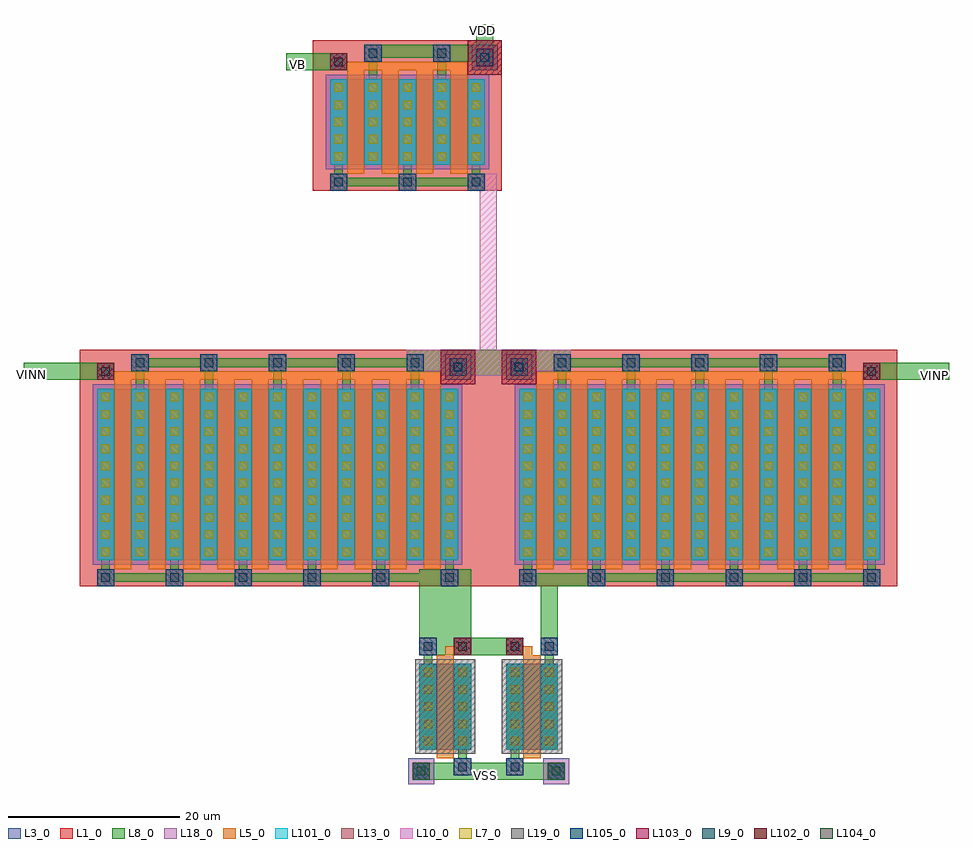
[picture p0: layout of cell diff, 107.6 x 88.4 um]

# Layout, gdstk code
from math import pi, radians
import gdstk
lib = gdstk.Library(unit=1e-6, precision=1e-07)
def R(c, l, rs):  # rectangles x0, y0, x1, y1
    for r in rs: c.add(gdstk.rectangle(r[:2], r[2:], *l))
L1_0 = (1, 0)
L3_0 = (3, 0)
L5_0 = (5, 0)
L7_0 = (7, 0)
L8_0 = (8, 0)
L9_0 = (9, 0)
L10_0 = (10, 0)
L13_0 = (13, 0)
L18_0 = (18, 0)
L19_0 = (19, 0)
L101_0 = (101, 0)
L102_0 = (102, 0)
L103_0 = (103, 0)
L104_0 = (104, 0)
L105_0 = (105, 0)

dcont = lib.new_cell('dcont')
R(dcont, L3_0, [(-1,-1,1,1)])
R(dcont, L7_0, [(-0.5,-0.5,0.5,0.5)])
R(dcont, L8_0, [(-1,-1,1,1)])
R(dcont, L13_0, [(-0.5,-0.5,0.5,0.5)])
R(dcont, L101_0, [(-1,-1,1,1)])

pcont = lib.new_cell('pcont')
R(pcont, L5_0, [(-1,-1,1,1)])
R(pcont, L7_0, [(-0.5,-0.5,0.5,0.5)])
R(pcont, L8_0, [(-1,-1,1,1)])
R(pcont, L13_0, [(-0.5,-0.5,0.5,0.5)])
R(pcont, L102_0, [(-1,-1,1,1)])

via = lib.new_cell('Via')
R(via, L8_0, [(-1,-1,1,1)])
R(via, L9_0, [(-0.5,-0.5,0.5,0.5)])
R(via, L10_0, [(-1,-1,1,1)])
R(via, L13_0, [(-0.5,-0.5,0.5,0.5)])
R(via, L105_0, [(-1,-1,1,1)])

dcont1 = lib.new_cell('dcont1')
R(dcont1, L3_0, [(-1,-1,1,1)])
R(dcont1, L7_0, [(-0.5,-0.5,0.5,0.5)])
R(dcont1, L8_0, [(-1,-1,1,1)])
R(dcont1, L13_0, [(-0.5,-0.5,0.5,0.5)])
R(dcont1, L101_0, [(-1,-1,1,1)])

nsubcont = lib.new_cell('nsubcont')
R(nsubcont, L1_0, [(-2,-2,2,2)])
R(nsubcont, L19_0, [(-1.5,-1.5,1.5,1.5)])
R(nsubcont, L103_0, [(-2,-2,2,2)])
nsubcont.add(gdstk.Reference(dcont1, (0,0)))

pch_2 = lib.new_cell('Pch$2')
R(pch_2, L1_0, [(-2,-1.5,20,16)])
R(pch_2, L3_0, [(0,3,18,13)])
R(pch_2, L18_0, [(-0.5,2.5,18.5,13.5)])
pch_2.add(gdstk.FlexPath([(1,3),(1,13)], 2, ends="flush", simple_path=True, layer=8, datatype=0))  # L8_0
pch_2.add(gdstk.FlexPath([(5,3),(5,13)], 2, ends="flush", simple_path=True, layer=8, datatype=0))  # L8_0
pch_2.add(gdstk.FlexPath([(9,3),(9,13)], 2, ends="flush", simple_path=True, layer=8, datatype=0))  # L8_0
pch_2.add(gdstk.FlexPath([(13,3),(13,13)], 2, ends="flush", simple_path=True, layer=8, datatype=0))  # L8_0
pch_2.add(gdstk.FlexPath([(17,3),(17,13)], 2, ends="flush", simple_path=True, layer=8, datatype=0))  # L8_0
pch_2.add(gdstk.FlexPath([(1,12),(1,15)], 1, ends="flush", simple_path=True, layer=8, datatype=0))  # L8_0
pch_2.add(gdstk.FlexPath([(5,0),(5,4)], 1, ends="flush", simple_path=True, layer=8, datatype=0))  # L8_0
pch_2.add(gdstk.FlexPath([(9,12),(9,15)], 1, ends="flush", simple_path=True, layer=8, datatype=0))  # L8_0
pch_2.add(gdstk.FlexPath([(1,15),(9,15)], 1, ends="extended", simple_path=True, layer=8, datatype=0))  # L8_0
pch_2.add(gdstk.FlexPath([(13,0),(13,4)], 1, ends="flush", simple_path=True, layer=8, datatype=0))  # L8_0
pch_2.add(gdstk.FlexPath([(5,0),(13,0)], 1, ends="extended", simple_path=True, layer=8, datatype=0))  # L8_0
pch_2.add(gdstk.FlexPath([(17,12),(17,15)], 1, ends="flush", simple_path=True, layer=8, datatype=0))  # L8_0
pch_2.add(gdstk.FlexPath([(9,15),(17,15)], 1, ends="extended", simple_path=True, layer=8, datatype=0))  # L8_0
pch_2.add(gdstk.FlexPath([(3,3),(3,13)], 2, ends="extended", simple_path=True, layer=5, datatype=0))  # L5_0
pch_2.add(gdstk.FlexPath([(7,3),(7,13)], 2, ends="extended", simple_path=True, layer=5, datatype=0))  # L5_0
pch_2.add(gdstk.FlexPath([(11,3),(11,13)], 2, ends="extended", simple_path=True, layer=5, datatype=0))  # L5_0
pch_2.add(gdstk.FlexPath([(15,3),(15,13)], 2, ends="extended", simple_path=True, layer=5, datatype=0))  # L5_0
pch_2.add(gdstk.FlexPath([(1,1.5),(2.5,1.5),(2.5,2)], 1, ends="flush", simple_path=True, layer=5, datatype=0))  # L5_0
pch_2.add(gdstk.FlexPath([(2,1.5),(8,1.5)], 1, ends="flush", simple_path=True, layer=5, datatype=0))  # L5_0
pch_2.add(gdstk.FlexPath([(6,1.5),(12,1.5)], 1, ends="flush", simple_path=True, layer=5, datatype=0))  # L5_0
pch_2.add(gdstk.FlexPath([(10,1.5),(16,1.5)], 1, ends="flush", simple_path=True, layer=5, datatype=0))  # L5_0
pch_2.add(gdstk.Reference(dcont, (1,4)))
pch_2.add(gdstk.Reference(dcont, (1,6)))
pch_2.add(gdstk.Reference(dcont, (1,8)))
pch_2.add(gdstk.Reference(dcont, (1,10)))
pch_2.add(gdstk.Reference(dcont, (1,12)))
pch_2.add(gdstk.Reference(dcont, (5,4)))
pch_2.add(gdstk.Reference(dcont, (5,6)))
pch_2.add(gdstk.Reference(dcont, (5,8)))
pch_2.add(gdstk.Reference(dcont, (5,10)))
pch_2.add(gdstk.Reference(dcont, (5,12)))
pch_2.add(gdstk.Reference(dcont, (9,4)))
pch_2.add(gdstk.Reference(dcont, (9,6)))
pch_2.add(gdstk.Reference(dcont, (9,8)))
pch_2.add(gdstk.Reference(dcont, (9,10)))
pch_2.add(gdstk.Reference(dcont, (9,12)))
pch_2.add(gdstk.Reference(dcont, (13,4)))
pch_2.add(gdstk.Reference(dcont, (13,6)))
pch_2.add(gdstk.Reference(dcont, (13,8)))
pch_2.add(gdstk.Reference(dcont, (13,10)))
pch_2.add(gdstk.Reference(dcont, (13,12)))
pch_2.add(gdstk.Reference(dcont, (17,4)))
pch_2.add(gdstk.Reference(dcont, (17,6)))
pch_2.add(gdstk.Reference(dcont, (17,8)))
pch_2.add(gdstk.Reference(dcont, (17,10)))
pch_2.add(gdstk.Reference(dcont, (17,12)))
pch_2.add(gdstk.Reference(pcont, (1,1)))
pch_2.add(gdstk.Reference(via, (1,1)))
pch_2.add(gdstk.Reference(via, (1,15)))
pch_2.add(gdstk.Reference(via, (5,0)))
pch_2.add(gdstk.Reference(via, (9,15)))
pch_2.add(gdstk.Reference(via, (13,0)))
pch_2.add(gdstk.Reference(via, (17,15)))
pch_2.add(gdstk.Reference(nsubcont, (18,0.5)))
pch_2.add(gdstk.Reference(via, (18,0.5)))

pch_6 = lib.new_cell('Pch$6')
R(pch_6, L1_0, [(-2,-1.5,44,26)])
R(pch_6, L3_0, [(0,3,42,23)])
R(pch_6, L18_0, [(-0.5,2.5,42.5,23.5)])
pch_6.add(gdstk.FlexPath([(1,3),(1,23)], 2, ends="flush", simple_path=True, layer=8, datatype=0))  # L8_0
pch_6.add(gdstk.FlexPath([(5,3),(5,23)], 2, ends="flush", simple_path=True, layer=8, datatype=0))  # L8_0
pch_6.add(gdstk.FlexPath([(9,3),(9,23)], 2, ends="flush", simple_path=True, layer=8, datatype=0))  # L8_0
pch_6.add(gdstk.FlexPath([(13,3),(13,23)], 2, ends="flush", simple_path=True, layer=8, datatype=0))  # L8_0
pch_6.add(gdstk.FlexPath([(17,3),(17,23)], 2, ends="flush", simple_path=True, layer=8, datatype=0))  # L8_0
pch_6.add(gdstk.FlexPath([(21,3),(21,23)], 2, ends="flush", simple_path=True, layer=8, datatype=0))  # L8_0
pch_6.add(gdstk.FlexPath([(25,3),(25,23)], 2, ends="flush", simple_path=True, layer=8, datatype=0))  # L8_0
pch_6.add(gdstk.FlexPath([(29,3),(29,23)], 2, ends="flush", simple_path=True, layer=8, datatype=0))  # L8_0
pch_6.add(gdstk.FlexPath([(33,3),(33,23)], 2, ends="flush", simple_path=True, layer=8, datatype=0))  # L8_0
pch_6.add(gdstk.FlexPath([(37,3),(37,23)], 2, ends="flush", simple_path=True, layer=8, datatype=0))  # L8_0
pch_6.add(gdstk.FlexPath([(41,3),(41,23)], 2, ends="flush", simple_path=True, layer=8, datatype=0))  # L8_0
pch_6.add(gdstk.FlexPath([(1,22),(1,25)], 1, ends="flush", simple_path=True, layer=8, datatype=0))  # L8_0
pch_6.add(gdstk.FlexPath([(5,0),(5,4)], 1, ends="flush", simple_path=True, layer=8, datatype=0))  # L8_0
pch_6.add(gdstk.FlexPath([(9,22),(9,25)], 1, ends="flush", simple_path=True, layer=8, datatype=0))  # L8_0
pch_6.add(gdstk.FlexPath([(1,25),(9,25)], 1, ends="extended", simple_path=True, layer=8, datatype=0))  # L8_0
pch_6.add(gdstk.FlexPath([(13,0),(13,4)], 1, ends="flush", simple_path=True, layer=8, datatype=0))  # L8_0
pch_6.add(gdstk.FlexPath([(5,0),(13,0)], 1, ends="extended", simple_path=True, layer=8, datatype=0))  # L8_0
pch_6.add(gdstk.FlexPath([(17,22),(17,25)], 1, ends="flush", simple_path=True, layer=8, datatype=0))  # L8_0
pch_6.add(gdstk.FlexPath([(9,25),(17,25)], 1, ends="extended", simple_path=True, layer=8, datatype=0))  # L8_0
pch_6.add(gdstk.FlexPath([(21,0),(21,4)], 1, ends="flush", simple_path=True, layer=8, datatype=0))  # L8_0
pch_6.add(gdstk.FlexPath([(13,0),(21,0)], 1, ends="extended", simple_path=True, layer=8, datatype=0))  # L8_0
pch_6.add(gdstk.FlexPath([(25,22),(25,25)], 1, ends="flush", simple_path=True, layer=8, datatype=0))  # L8_0
pch_6.add(gdstk.FlexPath([(17,25),(25,25)], 1, ends="extended", simple_path=True, layer=8, datatype=0))  # L8_0
pch_6.add(gdstk.FlexPath([(29,0),(29,4)], 1, ends="flush", simple_path=True, layer=8, datatype=0))  # L8_0
pch_6.add(gdstk.FlexPath([(21,0),(29,0)], 1, ends="extended", simple_path=True, layer=8, datatype=0))  # L8_0
pch_6.add(gdstk.FlexPath([(33,22),(33,25)], 1, ends="flush", simple_path=True, layer=8, datatype=0))  # L8_0
pch_6.add(gdstk.FlexPath([(25,25),(33,25)], 1, ends="extended", simple_path=True, layer=8, datatype=0))  # L8_0
pch_6.add(gdstk.FlexPath([(37,0),(37,4)], 1, ends="flush", simple_path=True, layer=8, datatype=0))  # L8_0
pch_6.add(gdstk.FlexPath([(29,0),(37,0)], 1, ends="extended", simple_path=True, layer=8, datatype=0))  # L8_0
pch_6.add(gdstk.FlexPath([(41,22),(41,25)], 1, ends="flush", simple_path=True, layer=8, datatype=0))  # L8_0
pch_6.add(gdstk.FlexPath([(33,25),(41,25)], 1, ends="extended", simple_path=True, layer=8, datatype=0))  # L8_0
pch_6.add(gdstk.FlexPath([(3,3),(3,23)], 2, ends="extended", simple_path=True, layer=5, datatype=0))  # L5_0
pch_6.add(gdstk.FlexPath([(7,3),(7,23)], 2, ends="extended", simple_path=True, layer=5, datatype=0))  # L5_0
pch_6.add(gdstk.FlexPath([(11,3),(11,23)], 2, ends="extended", simple_path=True, layer=5, datatype=0))  # L5_0
pch_6.add(gdstk.FlexPath([(15,3),(15,23)], 2, ends="extended", simple_path=True, layer=5, datatype=0))  # L5_0
pch_6.add(gdstk.FlexPath([(19,3),(19,23)], 2, ends="extended", simple_path=True, layer=5, datatype=0))  # L5_0
pch_6.add(gdstk.FlexPath([(23,3),(23,23)], 2, ends="extended", simple_path=True, layer=5, datatype=0))  # L5_0
pch_6.add(gdstk.FlexPath([(27,3),(27,23)], 2, ends="extended", simple_path=True, layer=5, datatype=0))  # L5_0
pch_6.add(gdstk.FlexPath([(31,3),(31,23)], 2, ends="extended", simple_path=True, layer=5, datatype=0))  # L5_0
pch_6.add(gdstk.FlexPath([(35,3),(35,23)], 2, ends="extended", simple_path=True, layer=5, datatype=0))  # L5_0
pch_6.add(gdstk.FlexPath([(39,3),(39,23)], 2, ends="extended", simple_path=True, layer=5, datatype=0))  # L5_0
pch_6.add(gdstk.FlexPath([(1,1.5),(2.5,1.5),(2.5,2)], 1, ends="flush", simple_path=True, layer=5, datatype=0))  # L5_0
pch_6.add(gdstk.FlexPath([(2,1.5),(8,1.5)], 1, ends="flush", simple_path=True, layer=5, datatype=0))  # L5_0
pch_6.add(gdstk.FlexPath([(6,1.5),(12,1.5)], 1, ends="flush", simple_path=True, layer=5, datatype=0))  # L5_0
pch_6.add(gdstk.FlexPath([(10,1.5),(16,1.5)], 1, ends="flush", simple_path=True, layer=5, datatype=0))  # L5_0
pch_6.add(gdstk.FlexPath([(14,1.5),(20,1.5)], 1, ends="flush", simple_path=True, layer=5, datatype=0))  # L5_0
pch_6.add(gdstk.FlexPath([(18,1.5),(24,1.5)], 1, ends="flush", simple_path=True, layer=5, datatype=0))  # L5_0
pch_6.add(gdstk.FlexPath([(22,1.5),(28,1.5)], 1, ends="flush", simple_path=True, layer=5, datatype=0))  # L5_0
pch_6.add(gdstk.FlexPath([(26,1.5),(32,1.5)], 1, ends="flush", simple_path=True, layer=5, datatype=0))  # L5_0
pch_6.add(gdstk.FlexPath([(30,1.5),(36,1.5)], 1, ends="flush", simple_path=True, layer=5, datatype=0))  # L5_0
pch_6.add(gdstk.FlexPath([(34,1.5),(40,1.5)], 1, ends="flush", simple_path=True, layer=5, datatype=0))  # L5_0
pch_6.add(gdstk.Reference(dcont, (1,12)))
pch_6.add(gdstk.Reference(dcont, (5,12)))
pch_6.add(gdstk.Reference(dcont, (9,12)))
pch_6.add(gdstk.Reference(dcont, (13,12)))
pch_6.add(gdstk.Reference(dcont, (17,12)))
pch_6.add(gdstk.Reference(dcont, (21,12)))
pch_6.add(gdstk.Reference(dcont, (25,12)))
pch_6.add(gdstk.Reference(dcont, (29,12)))
pch_6.add(gdstk.Reference(dcont, (33,12)))
pch_6.add(gdstk.Reference(dcont, (37,12)))
pch_6.add(gdstk.Reference(dcont, (41,12)))
pch_6.add(gdstk.Reference(dcont, (25,22)))
pch_6.add(gdstk.Reference(dcont, (25,14)))
pch_6.add(gdstk.Reference(dcont, (29,14)))
pch_6.add(gdstk.Reference(dcont, (29,16)))
pch_6.add(gdstk.Reference(dcont, (29,18)))
pch_6.add(gdstk.Reference(dcont, (29,20)))
pch_6.add(gdstk.Reference(dcont, (29,22)))
pch_6.add(gdstk.Reference(dcont, (25,16)))
pch_6.add(gdstk.Reference(dcont, (33,14)))
pch_6.add(gdstk.Reference(dcont, (33,16)))
pch_6.add(gdstk.Reference(dcont, (33,18)))
pch_6.add(gdstk.Reference(dcont, (33,20)))
pch_6.add(gdstk.Reference(dcont, (33,22)))
pch_6.add(gdstk.Reference(dcont, (25,18)))
pch_6.add(gdstk.Reference(dcont, (37,14)))
pch_6.add(gdstk.Reference(dcont, (37,16)))
pch_6.add(gdstk.Reference(dcont, (37,18)))
pch_6.add(gdstk.Reference(dcont, (37,20)))
pch_6.add(gdstk.Reference(dcont, (37,22)))
pch_6.add(gdstk.Reference(dcont, (25,20)))
pch_6.add(gdstk.Reference(dcont, (41,14)))
pch_6.add(gdstk.Reference(dcont, (41,16)))
pch_6.add(gdstk.Reference(dcont, (41,18)))
pch_6.add(gdstk.Reference(dcont, (41,20)))
pch_6.add(gdstk.Reference(dcont, (41,22)))
pch_6.add(gdstk.Reference(via, (25,25)))
pch_6.add(gdstk.Reference(via, (33,25)))
pch_6.add(gdstk.Reference(via, (41,25)))
pch_6.add(gdstk.Reference(dcont, (5,18)))
pch_6.add(gdstk.Reference(dcont, (5,20)))
pch_6.add(gdstk.Reference(dcont, (5,22)))
pch_6.add(gdstk.Reference(dcont, (1,16)))
pch_6.add(gdstk.Reference(dcont, (9,14)))
pch_6.add(gdstk.Reference(dcont, (9,16)))
pch_6.add(gdstk.Reference(dcont, (9,18)))
pch_6.add(gdstk.Reference(dcont, (9,20)))
pch_6.add(gdstk.Reference(dcont, (9,22)))
pch_6.add(gdstk.Reference(dcont, (1,18)))
pch_6.add(gdstk.Reference(dcont, (13,14)))
pch_6.add(gdstk.Reference(dcont, (13,16)))
pch_6.add(gdstk.Reference(dcont, (13,18)))
pch_6.add(gdstk.Reference(dcont, (13,20)))
pch_6.add(gdstk.Reference(dcont, (13,22)))
pch_6.add(gdstk.Reference(dcont, (1,20)))
pch_6.add(gdstk.Reference(dcont, (17,14)))
pch_6.add(gdstk.Reference(dcont, (17,16)))
pch_6.add(gdstk.Reference(dcont, (17,18)))
pch_6.add(gdstk.Reference(dcont, (17,20)))
pch_6.add(gdstk.Reference(dcont, (17,22)))
pch_6.add(gdstk.Reference(dcont, (1,22)))
pch_6.add(gdstk.Reference(dcont, (21,14)))
pch_6.add(gdstk.Reference(dcont, (21,16)))
pch_6.add(gdstk.Reference(dcont, (21,18)))
pch_6.add(gdstk.Reference(dcont, (21,20)))
pch_6.add(gdstk.Reference(dcont, (21,22)))
pch_6.add(gdstk.Reference(via, (1,25)))
pch_6.add(gdstk.Reference(via, (9,25)))
pch_6.add(gdstk.Reference(via, (17,25)))
pch_6.add(gdstk.Reference(dcont, (1,14)))
pch_6.add(gdstk.Reference(dcont, (5,14)))
pch_6.add(gdstk.Reference(dcont, (5,16)))
pch_6.add(gdstk.Reference(dcont, (1,4)))
pch_6.add(gdstk.Reference(dcont, (1,6)))
pch_6.add(gdstk.Reference(dcont, (21,4)))
pch_6.add(gdstk.Reference(dcont, (21,6)))
pch_6.add(gdstk.Reference(dcont, (21,8)))
pch_6.add(gdstk.Reference(dcont, (21,10)))
pch_6.add(gdstk.Reference(dcont, (13,4)))
pch_6.add(gdstk.Reference(dcont, (13,6)))
pch_6.add(gdstk.Reference(dcont, (13,8)))
pch_6.add(gdstk.Reference(dcont, (13,10)))
pch_6.add(gdstk.Reference(dcont, (5,4)))
pch_6.add(gdstk.Reference(dcont, (5,6)))
pch_6.add(gdstk.Reference(dcont, (9,4)))
pch_6.add(gdstk.Reference(dcont, (9,6)))
pch_6.add(gdstk.Reference(dcont, (9,8)))
pch_6.add(gdstk.Reference(dcont, (9,10)))
pch_6.add(gdstk.Reference(dcont, (17,4)))
pch_6.add(gdstk.Reference(dcont, (17,6)))
pch_6.add(gdstk.Reference(pcont, (1,1)))
pch_6.add(gdstk.Reference(via, (1,1)))
pch_6.add(gdstk.Reference(dcont, (17,8)))
pch_6.add(gdstk.Reference(via, (5,0)))
pch_6.add(gdstk.Reference(dcont, (17,10)))
pch_6.add(gdstk.Reference(via, (13,0)))
pch_6.add(gdstk.Reference(dcont, (5,8)))
pch_6.add(gdstk.Reference(via, (21,0)))
pch_6.add(gdstk.Reference(dcont, (5,10)))
pch_6.add(gdstk.Reference(dcont, (1,8)))
pch_6.add(gdstk.Reference(dcont, (1,10)))
pch_6.add(gdstk.Reference(dcont, (41,6)))
pch_6.add(gdstk.Reference(dcont, (41,8)))
pch_6.add(gdstk.Reference(dcont, (41,10)))
pch_6.add(gdstk.Reference(dcont, (29,8)))
pch_6.add(gdstk.Reference(dcont, (29,10)))
pch_6.add(gdstk.Reference(dcont, (25,8)))
pch_6.add(gdstk.Reference(dcont, (25,10)))
pch_6.add(gdstk.Reference(dcont, (25,4)))
pch_6.add(gdstk.Reference(dcont, (25,6)))
pch_6.add(gdstk.Reference(dcont, (37,4)))
pch_6.add(gdstk.Reference(dcont, (37,6)))
pch_6.add(gdstk.Reference(dcont, (37,8)))
pch_6.add(gdstk.Reference(dcont, (37,10)))
pch_6.add(gdstk.Reference(dcont, (29,4)))
pch_6.add(gdstk.Reference(dcont, (29,6)))
pch_6.add(gdstk.Reference(dcont, (33,4)))
pch_6.add(gdstk.Reference(dcont, (33,6)))
pch_6.add(gdstk.Reference(dcont, (33,8)))
pch_6.add(gdstk.Reference(via, (29,0)))
pch_6.add(gdstk.Reference(dcont, (33,10)))
pch_6.add(gdstk.Reference(via, (37,0)))
pch_6.add(gdstk.Reference(dcont, (41,4)))
pch_6.add(gdstk.Reference(nsubcont, (42,0.5)))
pch_6.add(gdstk.Reference(via, (42,0.5)))

psubcont = lib.new_cell('psubcont')
R(psubcont, L18_0, [(-1.5,-1.5,1.5,1.5)])
R(psubcont, L104_0, [(-1,-1,1,1)])
psubcont.add(gdstk.Reference(dcont1, (0,0)))

nch = lib.new_cell('Nch')
R(nch, L3_0, [(0,3,6,13)])
R(nch, L19_0, [(-0.5,2.5,6.5,13.5)])
nch.add(gdstk.FlexPath([(1,3),(1,13)], 2, ends="flush", simple_path=True, layer=8, datatype=0))  # L8_0
nch.add(gdstk.FlexPath([(5,3),(5,13)], 2, ends="flush", simple_path=True, layer=8, datatype=0))  # L8_0
nch.add(gdstk.FlexPath([(1,1),(1,4)], 1, ends="flush", simple_path=True, layer=8, datatype=0))  # L8_0
nch.add(gdstk.FlexPath([(5,12),(5,15)], 1, ends="flush", simple_path=True, layer=8, datatype=0))  # L8_0
nch.add(gdstk.FlexPath([(3,3),(3,13)], 2, ends="extended", simple_path=True, layer=5, datatype=0))  # L5_0
nch.add(gdstk.FlexPath([(1,14.5),(2.5,14.5),(2.5,14)], 1, ends="flush", simple_path=True, layer=5, datatype=0))  # L5_0
nch.add(gdstk.Reference(dcont, (1,4)))
nch.add(gdstk.Reference(dcont, (1,6)))
nch.add(gdstk.Reference(dcont, (1,8)))
nch.add(gdstk.Reference(dcont, (1,10)))
nch.add(gdstk.Reference(dcont, (1,12)))
nch.add(gdstk.Reference(dcont, (5,4)))
nch.add(gdstk.Reference(dcont, (5,6)))
nch.add(gdstk.Reference(dcont, (5,8)))
nch.add(gdstk.Reference(dcont, (5,10)))
nch.add(gdstk.Reference(dcont, (5,12)))
nch.add(gdstk.Reference(pcont, (1,15)))
nch.add(gdstk.Reference(via, (1,15)))
nch.add(gdstk.Reference(via, (1,1)))
nch.add(gdstk.Reference(via, (5,15)))
nch.add(gdstk.Reference(psubcont, (5.8,0.5)))
nch.add(gdstk.Reference(via, (5.8,0.5)))

diff = lib.new_cell('diff')
R(diff, L1_0, [(209.9,23.5,213,51)])
R(diff, L8_0, [(203.4,15.5,209.4,24.5), (215.5,23.5,223.5,25), (203.4,24.5,209.4,25.5), (205.9,48,217,51), (201.9,48.5,221,51), (199,86,205,86.5), (210,86,212,86.5)])
R(diff, L10_0, [(205.9,48,217,51), (201.9,48.5,221,51)])
diff.add(gdstk.FlexPath([(255,48.5),(265,48.5)], 2, ends="flush", simple_path=True, layer=8, datatype=0))  # L8_0
diff.add(gdstk.FlexPath([(167.9,48.5),(157.4,48.5)], 2, ends="flush", simple_path=True, layer=8, datatype=0))  # L8_0
diff.add(gdstk.FlexPath([(206,85.5),(211,85.5),(211,88.9)], 2, ends="flush", simple_path=True, layer=8, datatype=0))  # L8_0
diff.add(gdstk.FlexPath([(220.3,2),(202.6,2)], 2, ends="flush", simple_path=True, layer=8, datatype=0))  # L8_0
diff.add(gdstk.FlexPath([(195,84.5),(187.9,84.5)], 2, ends="flush", simple_path=True, layer=8, datatype=0))  # L8_0
diff.add(gdstk.FlexPath([(206.9,24.5),(206.9,21.6),(208.4,21.6),(208.4,16.5),(215.5,16.5)], 2, ends="flush", simple_path=True, layer=8, datatype=0))  # L8_0
diff.add(gdstk.FlexPath([(204.4,16.5),(204.4,24.5)], 2, ends="flush", simple_path=True, layer=8, datatype=0))  # L8_0
diff.add(gdstk.FlexPath([(218.5,16.5),(218.5,24.9)], 2, ends="flush", simple_path=True, layer=8, datatype=0))  # L8_0
diff.add(gdstk.FlexPath([(209,70.5),(211.4,70.5),(211.4,48.5)], 2, ends="flush", simple_path=True, layer=10, datatype=0))  # L10_0
diff.add(gdstk.Reference(pch_2, (193,85.5), x_reflection=True))
diff.add(gdstk.Reference(pch_6, (165.9,49.5), x_reflection=True))
diff.add(gdstk.Reference(pch_6, (257,49.5), rotation=pi))
diff.add(gdstk.Reference(nch, (213.5,1.5)))
diff.add(gdstk.Reference(nch, (209.4,1.5), rotation=pi, x_reflection=True))
diff.add(gdstk.Label('VINP', (263.3,48), layer=8, texttype=0))
diff.add(gdstk.Label('VINN', (158.3,48.1), layer=8, texttype=0))
diff.add(gdstk.Label('VSS', (211.1,1.5), layer=8, texttype=0))
diff.add(gdstk.Label('VB', (189.2,84.2), layer=8, texttype=0))
diff.add(gdstk.Label('VDD', (210.7,88.2), layer=8, texttype=0))

lib.write_gds('diff.gds')
